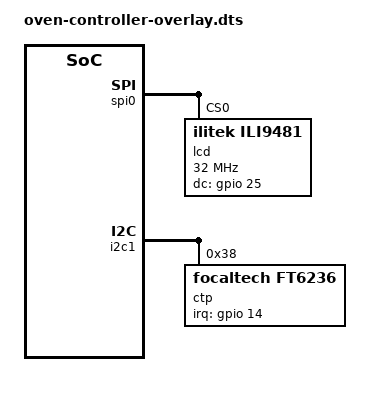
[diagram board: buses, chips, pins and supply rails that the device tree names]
/*
 * Custom device tree overlay for MLL ELectronics Oven Controller
 *
 */

/dts-v1/;
/plugin/;

&spi0 {
        status = "okay";
};

&spidev0 {
	status = "disabled";
};

&gpio {
        display_pins: display_pins {
                brcm,pins = <14 25>;
                brcm,function = <0 1>; /* in out */
                brcm,pull = <0 0>; /* none none */
        };
};

&spi0 {
        /* needed to avoid dtc warning */
        #address-cells = <1>;
        #size-cells = <0>;

        lcd: lcd@0{
                compatible = "ilitek,ili9481";
                reg = <0>;
                pinctrl-names = "default";
                pinctrl-0 = <&display_pins>;

                spi-max-frequency = <32000000>;
                rotate = <180>;
                fps = <25>;
                bgr;
                buswidth = <8>;
                dc-gpios = <&gpio 25 0>;
                debug = <0>;
        };
};

&i2c1 {
        /* needed to avoid dtc warning */
        #address-cells = <1>;
        #size-cells = <0>;

        ctp: ft6236@38 {
                compatible = "focaltech,ft6236";
                reg = <0x38>;

                interrupt-parent = <&gpio>;
                interrupts = <14 0>;
                touchscreen-size-x = <320>;
                touchscreen-size-y = <480>;
        };
};

__overrides__ {
        speed =   <&lcd>,"spi-max-frequency:0";
        rotate =  <&lcd>,"rotate:0";
        fps =     <&lcd>,"fps:0";
        debug =   <&lcd>,"debug:0";
        touch-sizex = <&ctp>,"touchscreen-size-x?";
        touch-sizey = <&ctp>,"touchscreen-size-y?";
        touch-invx  = <&ctp>,"touchscreen-inverted-x?";
        touch-invy  = <&ctp>,"touchscreen-inverted-y?";
        touch-swapxy = <&ctp>,"touchscreen-swapped-x-y?";
};
